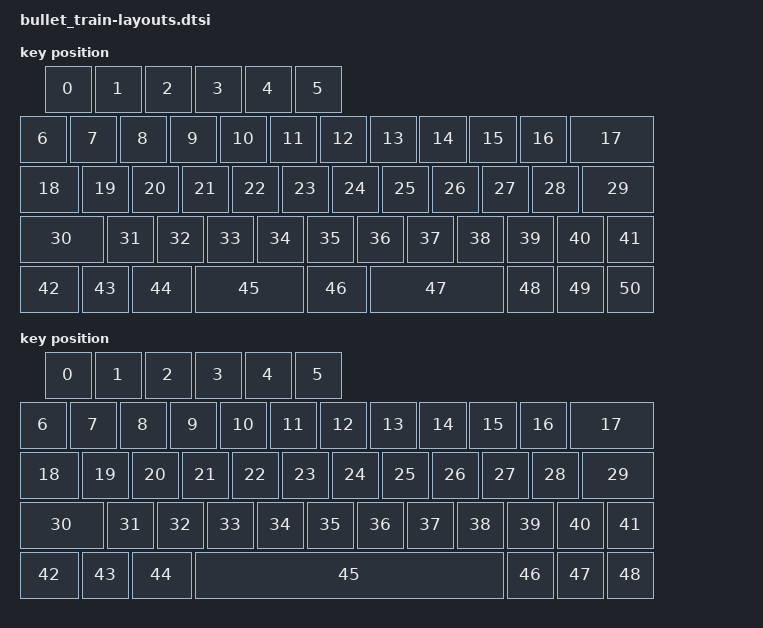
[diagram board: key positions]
/*
 * Copyright (c) 2025 CannonKeys LLC
 *
 * SPDX-License-Identifier: MIT
 */
#include <physical_layouts.dtsi>

/ {
    split_space: split_space {
        compatible = "zmk,physical-layout";
        display-name = "Split Space, 2.25/1.25/2.75";

        transform = <&split_space_transform>;

        keys  //                     w   h    x    y     rot    rx    ry
            = <&key_physical_attrs 100 100   50    0       0     0     0>
            , <&key_physical_attrs 100 100  150    0       0     0     0>
            , <&key_physical_attrs 100 100  250    0       0     0     0>
            , <&key_physical_attrs 100 100  350    0       0     0     0>
            , <&key_physical_attrs 100 100  450    0       0     0     0>
            , <&key_physical_attrs 100 100  550    0       0     0     0>
            , <&key_physical_attrs 100 100    0  100       0     0     0>
            , <&key_physical_attrs 100 100  100  100       0     0     0>
            , <&key_physical_attrs 100 100  200  100       0     0     0>
            , <&key_physical_attrs 100 100  300  100       0     0     0>
            , <&key_physical_attrs 100 100  400  100       0     0     0>
            , <&key_physical_attrs 100 100  500  100       0     0     0>
            , <&key_physical_attrs 100 100  600  100       0     0     0>
            , <&key_physical_attrs 100 100  700  100       0     0     0>
            , <&key_physical_attrs 100 100  800  100       0     0     0>
            , <&key_physical_attrs 100 100  900  100       0     0     0>
            , <&key_physical_attrs 100 100 1000  100       0     0     0>
            , <&key_physical_attrs 175 100 1100  100       0     0     0>
            , <&key_physical_attrs 125 100    0  200       0     0     0>
            , <&key_physical_attrs 100 100  125  200       0     0     0>
            , <&key_physical_attrs 100 100  225  200       0     0     0>
            , <&key_physical_attrs 100 100  325  200       0     0     0>
            , <&key_physical_attrs 100 100  425  200       0     0     0>
            , <&key_physical_attrs 100 100  525  200       0     0     0>
            , <&key_physical_attrs 100 100  625  200       0     0     0>
            , <&key_physical_attrs 100 100  725  200       0     0     0>
            , <&key_physical_attrs 100 100  825  200       0     0     0>
            , <&key_physical_attrs 100 100  925  200       0     0     0>
            , <&key_physical_attrs 100 100 1025  200       0     0     0>
            , <&key_physical_attrs 150 100 1125  200       0     0     0>
            , <&key_physical_attrs 175 100    0  300       0     0     0>
            , <&key_physical_attrs 100 100  175  300       0     0     0>
            , <&key_physical_attrs 100 100  275  300       0     0     0>
            , <&key_physical_attrs 100 100  375  300       0     0     0>
            , <&key_physical_attrs 100 100  475  300       0     0     0>
            , <&key_physical_attrs 100 100  575  300       0     0     0>
            , <&key_physical_attrs 100 100  675  300       0     0     0>
            , <&key_physical_attrs 100 100  775  300       0     0     0>
            , <&key_physical_attrs 100 100  875  300       0     0     0>
            , <&key_physical_attrs 100 100  975  300       0     0     0>
            , <&key_physical_attrs 100 100 1075  300       0     0     0>
            , <&key_physical_attrs 100 100 1175  300       0     0     0>
            , <&key_physical_attrs 125 100    0  400       0     0     0>
            , <&key_physical_attrs 100 100  125  400       0     0     0>
            , <&key_physical_attrs 125 100  225  400       0     0     0>
            , <&key_physical_attrs 225 100  350  400       0     0     0>
            , <&key_physical_attrs 125 100  575  400       0     0     0>
            , <&key_physical_attrs 275 100  700  400       0     0     0>
            , <&key_physical_attrs 100 100  975  400       0     0     0>
            , <&key_physical_attrs 100 100 1075  400       0     0     0>
            , <&key_physical_attrs 100 100 1175  400       0     0     0>
            ;
    };

    full_space: full_space {
        compatible = "zmk,physical-layout";
        display-name = "Full 6.25U Spacebar";

        transform = <&full_space_transform>;

        keys  //                     w   h    x    y     rot    rx    ry
            = <&key_physical_attrs 100 100   50    0       0     0     0>
            , <&key_physical_attrs 100 100  150    0       0     0     0>
            , <&key_physical_attrs 100 100  250    0       0     0     0>
            , <&key_physical_attrs 100 100  350    0       0     0     0>
            , <&key_physical_attrs 100 100  450    0       0     0     0>
            , <&key_physical_attrs 100 100  550    0       0     0     0>
            , <&key_physical_attrs 100 100    0  100       0     0     0>
            , <&key_physical_attrs 100 100  100  100       0     0     0>
            , <&key_physical_attrs 100 100  200  100       0     0     0>
            , <&key_physical_attrs 100 100  300  100       0     0     0>
            , <&key_physical_attrs 100 100  400  100       0     0     0>
            , <&key_physical_attrs 100 100  500  100       0     0     0>
            , <&key_physical_attrs 100 100  600  100       0     0     0>
            , <&key_physical_attrs 100 100  700  100       0     0     0>
            , <&key_physical_attrs 100 100  800  100       0     0     0>
            , <&key_physical_attrs 100 100  900  100       0     0     0>
            , <&key_physical_attrs 100 100 1000  100       0     0     0>
            , <&key_physical_attrs 175 100 1100  100       0     0     0>
            , <&key_physical_attrs 125 100    0  200       0     0     0>
            , <&key_physical_attrs 100 100  125  200       0     0     0>
            , <&key_physical_attrs 100 100  225  200       0     0     0>
            , <&key_physical_attrs 100 100  325  200       0     0     0>
            , <&key_physical_attrs 100 100  425  200       0     0     0>
            , <&key_physical_attrs 100 100  525  200       0     0     0>
            , <&key_physical_attrs 100 100  625  200       0     0     0>
            , <&key_physical_attrs 100 100  725  200       0     0     0>
            , <&key_physical_attrs 100 100  825  200       0     0     0>
            , <&key_physical_attrs 100 100  925  200       0     0     0>
            , <&key_physical_attrs 100 100 1025  200       0     0     0>
            , <&key_physical_attrs 150 100 1125  200       0     0     0>
            , <&key_physical_attrs 175 100    0  300       0     0     0>
            , <&key_physical_attrs 100 100  175  300       0     0     0>
            , <&key_physical_attrs 100 100  275  300       0     0     0>
            , <&key_physical_attrs 100 100  375  300       0     0     0>
            , <&key_physical_attrs 100 100  475  300       0     0     0>
            , <&key_physical_attrs 100 100  575  300       0     0     0>
            , <&key_physical_attrs 100 100  675  300       0     0     0>
            , <&key_physical_attrs 100 100  775  300       0     0     0>
            , <&key_physical_attrs 100 100  875  300       0     0     0>
            , <&key_physical_attrs 100 100  975  300       0     0     0>
            , <&key_physical_attrs 100 100 1075  300       0     0     0>
            , <&key_physical_attrs 100 100 1175  300       0     0     0>
            , <&key_physical_attrs 125 100    0  400       0     0     0>
            , <&key_physical_attrs 100 100  125  400       0     0     0>
            , <&key_physical_attrs 125 100  225  400       0     0     0>
            , <&key_physical_attrs 625 100  350  400       0     0     0>
            , <&key_physical_attrs 100 100  975  400       0     0     0>
            , <&key_physical_attrs 100 100 1075  400       0     0     0>
            , <&key_physical_attrs 100 100 1175  400       0     0     0>
            ;
    };

    position_map {
        compatible = "zmk,physical-layout-position-map";

        split_space {
            physical-layout = <&split_space>;
            positions = <45 46 47>;
        };

        full_space {
            physical-layout = <&full_space>;
            positions = <49 45 50>;
        };
    };
};
